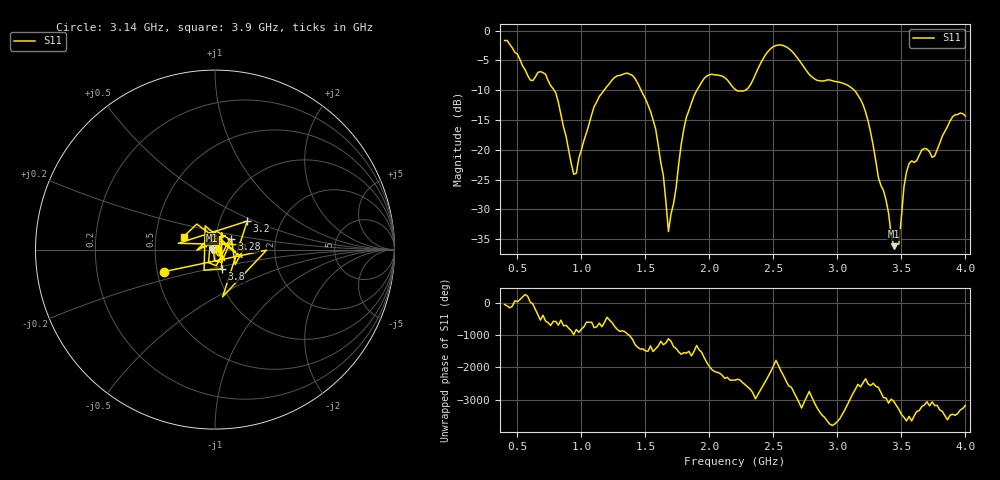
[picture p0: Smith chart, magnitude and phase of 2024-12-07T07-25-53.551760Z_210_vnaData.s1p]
!Created with skrf (http://scikit-rf.org).
# Hz S RI R 50.0
!freq ReS11 ImS11
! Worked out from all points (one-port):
!   181 points, 400 MHz to 4 GHz, reference 50 ohm
!   lowest |S11| = -36.2 dB at 3.44 GHz (marker M1), VSWR 1.03, Z = 48.5 - j0.447 ohm
!   |S11| at or under -10 dB: 787 MHz to 1.177 GHz (389.9 MHz wide, 39.7 % of centre); 1.466 GHz to 1.902 GHz (435.7 MHz wide, 25.9 % of centre); 3.132 GHz to end of sweep (the widest 3 of 4)
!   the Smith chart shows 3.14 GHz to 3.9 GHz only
!   S11 on the Smith chart (normalised r, x): 3.14 GHz: 0.54, -0.15; 3.2 GHz: 1.35, +0.46; 3.28 GHz: 1.19, +0.14; 3.8 GHz: 1.05, -0.23; 3.9 GHz: 0.70, +0.10
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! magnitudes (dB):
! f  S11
! 400 MHz  -1.7
! 600 MHz  -8.3
! 720 MHz  -7.3
! 860 MHz  -16.1
! 960 MHz  -23.9
! 1.1 GHz  -12.7
! 1.3 GHz  -7.5
! 1.4 GHz  -7.5
! 1.54 GHz  -13.5
! 1.64 GHz  -24.3
! 1.68 GHz  -33.7
! 1.76 GHz  -22.4
! 1.82 GHz  -14.5
! 1.96 GHz  -8.0
! 2.2 GHz  -9.8
! 2.5 GHz  -2.7
! 2.66 GHz  -3.8
! 3.1 GHz  -9.4
! 3.14 GHz  -10.2
! 3.2 GHz  -12.4
! 3.28 GHz  -19.3
! 3.44 GHz  -36.2
! 3.48 GHz  -35.8
! 3.52 GHz  -26.2
! 3.56 GHz  -22.3
! 3.8 GHz  -18.9
! 3.9 GHz  -14.4
! 4 GHz  -14.3
